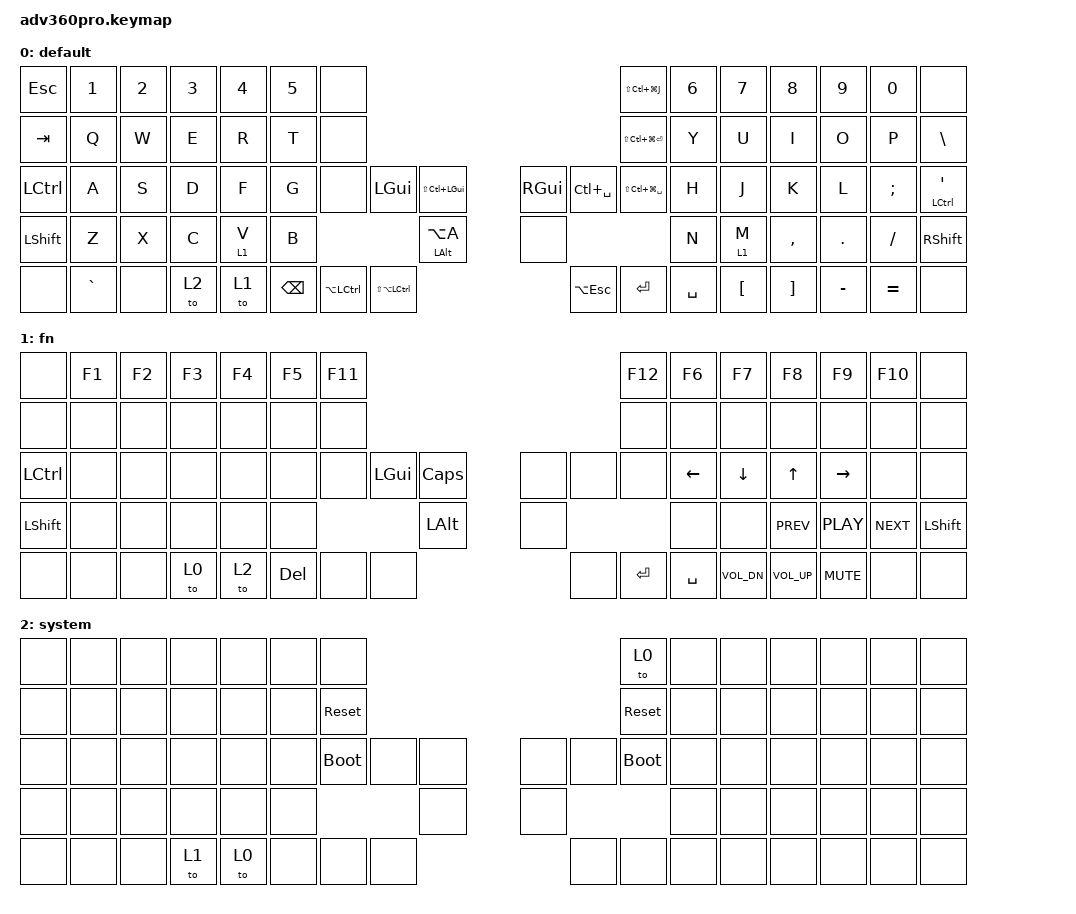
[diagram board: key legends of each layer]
#include <behaviors.dtsi>
#include <dt-bindings/zmk/keys.h>

/ {
    behaviors {
        ht_kp_kp: ht_kp_kp {
            compatible = "zmk,behavior-hold-tap";
            label = "HT_KP_KP";
            #binding-cells = <2>;
            tapping-term-ms = <200>;
            quick_tap_ms = <175>;
            flavor = "tap-preferred";
            bindings = <&kp>, <&kp>;
        };

        ht_mo_kp: ht_mo_kp {
            compatible = "zmk,behavior-hold-tap";
            label = "HT_MO_KP";
            #binding-cells = <2>;
            tapping-term-ms = <200>;
            quick_tap_ms = <175>;
            flavor = "tap-preferred";
            bindings = <&mo>, <&kp>;
        };
    };

    keymap {
        compatible = "zmk,keymap";

        default {
            bindings = <
&kp ESC    &kp N1     &kp N2  &kp N3  &kp N4         &kp N5  &none                                                                                          &kp LS(LC(LG(J)))      &kp N6  &kp N7         &kp N8     &kp N9     &kp N0     &none
&kp TAB    &kp Q      &kp W   &kp E   &kp R          &kp T   &none                                                                                          &kp LS(LC(LG(ENTER)))  &kp Y   &kp U          &kp I      &kp O      &kp P      &kp BSLH
&kp LCTRL  &kp A      &kp S   &kp D   &kp F          &kp G   &none            &kp LGUI       &kp LS(LC(LGUI))        &kp RGUI     &kp LC(SPACE)             &kp LS(LC(LG(SPACE)))  &kp H   &kp J          &kp K      &kp L      &kp SEMI   &ht_kp_kp LCTRL SQT
&kp LSHFT  &kp Z      &kp X   &kp C   &ht_mo_kp 1 V  &kp B                                   &ht_kp_kp LALT LA(A)    &none                                                         &kp N   &ht_mo_kp 1 M  &kp COMMA  &kp DOT    &kp FSLH   &kp RSHFT
&none      &kp GRAVE  &none   &to 2   &to 1                         &kp BSPC  &kp LA(LCTRL)  &kp LS(LA(LCTRL))       &kp LA(ESC)  &kp RET        &kp SPACE                                 &kp LBKT       &kp RBKT   &kp MINUS  &kp EQUAL  &none
            >;
        };

        fn {
            bindings = <
&none       &kp F1  &kp F2  &kp F3  &kp F4  &kp F5  &kp F11                                                                 &kp F12  &kp F6    &kp F7        &kp F8        &kp F9      &kp F10     &none
&none       &none   &none   &none   &none   &none   &none                                                                   &none    &none     &none         &none         &none       &none       &none
&kp LCTRL   &none   &none   &none   &none   &none   &none                &kp LGUI  &kp CAPS    &none  &none                 &none    &kp LEFT  &kp DOWN      &kp UP        &kp RIGHT   &none       &none
&kp LSHIFT  &none   &none   &none   &none   &none                                  &kp LALT    &none                                 &none     &none         &kp C_PREV    &kp C_PLAY  &kp C_NEXT  &kp LSHIFT
&none       &none   &none   &to 0   &to 2                    &kp DELETE  &none     &none       &none  &kp ENTER  &kp SPACE                     &kp C_VOL_DN  &kp C_VOL_UP  &kp C_MUTE  &none       &none
            >;
        };

        system {
            bindings = <
&none  &none  &none  &none  &none  &none  &none                                                    &to 0        &none  &none  &none  &none  &none  &none
&none  &none  &none  &none  &none  &none  &sys_reset                                               &sys_reset   &none  &none  &none  &none  &none  &none
&none  &none  &none  &none  &none  &none  &bootloader         &none  &none    &none  &none         &bootloader  &none  &none  &none  &none  &none  &none
&none  &none  &none  &none  &none  &none                             &none    &none                             &none  &none  &none  &none  &none  &none
&none  &none  &none  &to 1  &to 0                      &none  &none  &none    &none  &none  &none                      &none  &none  &none  &none  &none
            >;
        };
    };
};
